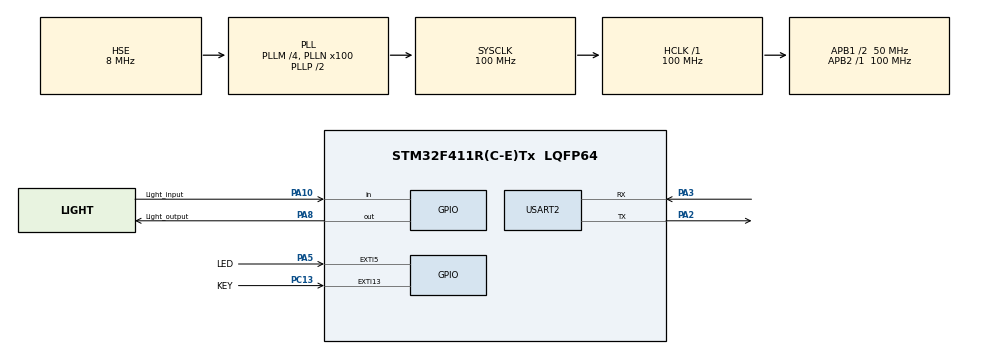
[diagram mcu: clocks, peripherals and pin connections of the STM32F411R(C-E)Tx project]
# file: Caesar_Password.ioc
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Dma.Request0=USART2_RX
Dma.Request1=USART2_TX
Dma.USART2_RX.0.Direction=DMA_PERIPH_TO_MEMORY
Dma.USART2_RX.0.FIFOMode=DMA_FIFOMODE_DISABLE
Dma.USART2_RX.0.Instance=DMA1_Stream5
Dma.USART2_RX.0.MemDataAlignment=DMA_MDATAALIGN_BYTE
Dma.USART2_RX.0.MemInc=DMA_MINC_ENABLE
Dma.USART2_RX.0.Mode=DMA_NORMAL
Dma.USART2_RX.0.PeriphDataAlignment=DMA_PDATAALIGN_BYTE
Dma.USART2_RX.0.PeriphInc=DMA_PINC_DISABLE
Dma.USART2_RX.0.Priority=DMA_PRIORITY_LOW
Dma.USART2_TX.1.Direction=DMA_MEMORY_TO_PERIPH
Dma.USART2_TX.1.FIFOMode=DMA_FIFOMODE_DISABLE
Dma.USART2_TX.1.Instance=DMA1_Stream6
Dma.USART2_TX.1.MemDataAlignment=DMA_MDATAALIGN_BYTE
Dma.USART2_TX.1.MemInc=DMA_MINC_ENABLE
Dma.USART2_TX.1.Mode=DMA_NORMAL
Dma.USART2_TX.1.PeriphDataAlignment=DMA_PDATAALIGN_BYTE
Dma.USART2_TX.1.PeriphInc=DMA_PINC_DISABLE
Dma.USART2_TX.1.Priority=DMA_PRIORITY_LOW
Mcu.Family=STM32F4
Mcu.Name=STM32F411R(C-E)Tx
Mcu.Package=LQFP64
NVIC.DMA1_Stream5_IRQn=true\:0\:0\:false\:false\:true\:false\:true\:true
NVIC.DMA1_Stream6_IRQn=true\:0\:0\:false\:false\:true\:false\:true\:true
NVIC.PriorityGroup=NVIC_PRIORITYGROUP_4
NVIC.TIM1_UP_TIM10_IRQn=true\:0\:0\:false\:false\:true\:true\:true\:true
PA10.GPIO_Label=Light_input
PA10.Signal=GPIO_Input
PA13.Mode=Serial_Wire
PA13.Signal=SYS_JTMS-SWDIO
PA14.Mode=Serial_Wire
PA14.Signal=SYS_JTCK-SWCLK
PA2.Mode=Asynchronous
PA2.Signal=USART2_TX
PA3.Mode=Asynchronous
PA3.Signal=USART2_RX
PA5.GPIO_Label=LED
PA5.Signal=GPXTI5
PA8.GPIO_Label=Light_output
PA8.Signal=GPIO_Output
PC13-ANTI_TAMP.GPIO_Label=KEY
PC13-ANTI_TAMP.Signal=GPXTI13
PH0\ -\ OSC_IN.Mode=HSE-External-Clock-Source
PH0\ -\ OSC_IN.Signal=RCC_OSC_IN
PH1\ -\ OSC_OUT.Mode=HSE-External-Clock-Source
PH1\ -\ OSC_OUT.Signal=RCC_OSC_OUT
ProjectManager.HeapSize=0x200
ProjectManager.StackSize=0x400
ProjectManager.TargetToolchain=MDK-ARM V5.32
RCC.48MHZClocksFreq_Value=50000000
RCC.AHBFreq_Value=100000000
RCC.APB1CLKDivider=RCC_HCLK_DIV2
RCC.APB1Freq_Value=50000000
RCC.APB1TimFreq_Value=100000000
RCC.APB2Freq_Value=100000000
RCC.APB2TimFreq_Value=100000000
RCC.CortexFreq_Value=100000000
RCC.HCLKFreq_Value=100000000
RCC.HSE_VALUE=8000000
RCC.HSI_VALUE=16000000
RCC.LSE_VALUE=32768
RCC.PLLM=4
RCC.PLLN=100
RCC.PLLSourceVirtual=RCC_PLLSOURCE_HSE
RCC.SYSCLKFreq_VALUE=100000000
RCC.SYSCLKSource=RCC_SYSCLKSOURCE_PLLCLK
RCC.VCOOutputFreq_Value=200000000
TIM10.Period=99
TIM10.Prescaler=9999
USART2.VirtualMode=VM_ASYNC
VP_TIM10_VS_ClockSourceINT.Mode=Enable_Timer
board=custom

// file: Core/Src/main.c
/* USER CODE BEGIN Header */
/**
 ******************************************************************************
 * @file           : main.c
 * @brief          : Main program body
 ******************************************************************************
 * @attention
 *
 * Copyright (c) 2024 STMicroelectronics.
 * All rights reserved.
 *
 * This software is licensed under terms that can be found in the LICENSE file
 * in the root directory of this software component.
 * If no LICENSE file comes with this software, it is provided AS-IS.
 *
 ******************************************************************************
 */
/* USER CODE END Header */
#include "main.h"
#include "dma.h"
#include "tim.h"
#include "usart.h"
#include "gpio.h"

/* USER CODE BEGIN Includes */
#include "KEY.h"
/* USER CODE END Includes */

/* USER CODE BEGIN PTD */
typedef enum
{
	OUTPUT = 0,
	EZINPUT = 1,
	INPUT = 2
} PUT_STATE; // 三种模式(通过长按切换)

typedef enum
{
	mode1 = 0,
	mode2,
	mode3
} LED_STATE;
/* USER CODE END PTD */

/* USER CODE BEGIN PD */
#define Bright GPIO_PIN_RESET
#define Dark GPIO_PIN_SET
/* USER CODE END PD */

/* USER CODE BEGIN PV */
PUT_STATE PutState = OUTPUT; // 默认为输出信号模式
LED_STATE LedState = mode1;
uint8_t Key_flag = 0;	   // 按键标志定义
uint32_t Bright_time = 0;  // 代表亮起的单位时间
uint32_t Dark_time = 0;	   // 代表熄灭的单位时间
uint8_t Start_ezinput = 0; // 定义开始接受标志
uint8_t Start_input = 0;   // 定义开始接受标志
uint8_t Morse_len = 0;	   // 定义摩尔斯密码长度
uint8_t Str_len = 0;	   // 定义字符串长度
uint8_t Space_num = 0;	   // 定义字符串中的空格数
uint8_t T = 0;			   // 定义t
uint8_t Morse[50] = {0};   // 定义数组储存摩尔斯密码
uint8_t Str[200] = {0};	   // 定义数组储存字符串
/* USER CODE END PV */

void SystemClock_Config(void);

/* USER CODE BEGIN 0 */
void Delay_break(uint16_t ms)
{
	for (uint8_t temp = 0; temp < ms / 10; temp++)
	{
		if (Key_flag)
			break;
		HAL_Delay(10);
	}
}

void Clear_array(uint8_t morse[], uint8_t morse_len)
{
	for (int temp = 0; temp < morse_len; temp++)
		morse[temp] = 0;
}

void Transform_password(uint8_t str[], uint8_t str_len, uint8_t t)
{
	for (int i = 0; i < str_len; i++)
	{
		if (str[i] >= 'a' && str[i] <= 'z')
		{
			str[i] = (str[i] - 'a' - t + 26) % 26 + 'a';
		}
	};
}

int Judge(uint8_t data[], const char a[], int len)
{
	for (int i = 0; i < len; i++)
	{
		if (data[i] == a[i])
			continue;
		else
			return 0;
	}
	return 1;
}

void Transform(uint8_t morse[], uint8_t str[], uint8_t morse_len, uint8_t str_len)
{
	switch (morse_len)
	{
	case 1:
	{
		if (Judge(morse, ".", 1))
			str[str_len] = 'e';
		if (Judge(morse, "-", 1))
			str[str_len] = 't';
		break;
	}
	case 2:
	{
		if (Judge(morse, ".-", 2))
			str[str_len] = 'a';
		if (Judge(morse, "..", 2))
			str[str_len] = 'i';
		if (Judge(morse, "--", 2))
			str[str_len] = 'm';
		if (Judge(morse, "-.", 2))
			str[str_len] = 'n';
		break;
	}
	case 3:
	{
		if (Judge(morse, "-..", 3))
			str[str_len] = 'd';
		if (Judge(morse, "--.", 3))
			str[str_len] = 'g';
		if (Judge(morse, "-.-", 3))
			str[str_len] = 'k';
		if (Judge(morse, "---", 3))
			str[str_len] = 'o';
		if (Judge(morse, ".-.", 3))
			str[str_len] = 'r';
		if (Judge(morse, "...", 3))
			str[str_len] = 's';
		if (Judge(morse, "..-", 3))
			str[str_len] = 'u';
		if (Judge(morse, ".--", 3))
			str[str_len] = 'w';
		break;
	}
	case 4:
	{
		if (Judge(morse, "-...", 4))
			str[str_len] = 'b';
		if (Judge(morse, "-.-.", 4))
			str[str_len] = 'c';
		if (Judge(morse, "..-.", 4))
			str[str_len] = 'f';
		if (Judge(morse, "....", 4))
			str[str_len] = 'h';
		if (Judge(morse, ".---", 4))
			str[str_len] = 'j';
		if (Judge(morse, ".-..", 4))
			str[str_len] = 'l';
		if (Judge(morse, ".--.", 4))
			str[str_len] = 'p';
		if (Judge(morse, "--.-", 4))
			str[str_len] = 'q';
		if (Judge(morse, "...-", 4))
			str[str_len] = 'v';
		if (Judge(morse, "-..-", 4))
			str[str_len] = 'x';
		if (Judge(morse, "-.--", 4))
			str[str_len] = 'y';
		if (Judge(morse, "--..", 4))
			str[str_len] = 'z';
		break;
	}
	}
}
/* USER CODE END 0 */

int main(void)
{

	/* MCU Configuration--------------------------------------------------------*/

	/* Reset of all peripherals, Initializes the Flash interface and the Systick. */
	HAL_Init();

	/* Configure the system clock */
	SystemClock_Config();

	/* Initialize all configured peripherals */
	MX_GPIO_Init();
	MX_DMA_Init();
	MX_USART2_UART_Init();
	MX_TIM10_Init();
	/* USER CODE BEGIN 2 */
	__HAL_TIM_CLEAR_IT(&htim10, TIM_IT_UPDATE);
	HAL_TIM_Base_Start_IT(&htim10);
	Key_Init(KEY0, KEY_GPIO_Port, KEY_Pin, PULL_UP);
	/* USER CODE END 2 */

	/* Infinite loop */
	while (1)
	{

		/* USER CODE BEGIN 3 */
		if (PutState == OUTPUT) // 当模式为发送信号模式时
		{
			if (Key_flag == 1)
			{
				if (LedState < mode3)
					LedState++;
				else
					LedState = 0;
			}
			else if (Key_flag == 3)
				PutState = EZINPUT; // 长按切换为接受信号模式

			switch (LedState)
			{
			case mode1:
			{
				HAL_GPIO_WritePin(LED_GPIO_Port, LED_Pin, GPIO_PIN_SET);
				HAL_GPIO_WritePin(Light_output_GPIO_Port, Light_output_Pin, GPIO_PIN_SET);
				Delay_break(1000);
				HAL_GPIO_WritePin(LED_GPIO_Port, LED_Pin, GPIO_PIN_RESET);
				HAL_GPIO_WritePin(Light_output_GPIO_Port, Light_output_Pin, GPIO_PIN_RESET);
				Delay_break(1000);
			}
			case mode2:
			{
				HAL_GPIO_WritePin(LED_GPIO_Port, LED_Pin, GPIO_PIN_SET);
				HAL_GPIO_WritePin(Light_output_GPIO_Port, Light_output_Pin, GPIO_PIN_SET);
				Delay_break(2000);
				HAL_GPIO_WritePin(LED_GPIO_Port, LED_Pin, GPIO_PIN_RESET);
				HAL_GPIO_WritePin(Light_output_GPIO_Port, Light_output_Pin, GPIO_PIN_RESET);
				Delay_break(2000);
				break;
			}
			case mode3:
			{
				HAL_GPIO_WritePin(LED_GPIO_Port, LED_Pin, GPIO_PIN_SET);
				HAL_GPIO_WritePin(Light_output_GPIO_Port, Light_output_Pin, GPIO_PIN_SET);
				Delay_break(3000);
				HAL_GPIO_WritePin(LED_GPIO_Port, LED_Pin, GPIO_PIN_RESET);
				HAL_GPIO_WritePin(Light_output_GPIO_Port, Light_output_Pin, GPIO_PIN_RESET);
				Delay_break(3000);
				break;
			}
			}
		}
	}
	/* USER CODE END 3 */
}

void SystemClock_Config(void)
{
	RCC_OscInitTypeDef RCC_OscInitStruct = {0};
	RCC_ClkInitTypeDef RCC_ClkInitStruct = {0};

	/** Configure the main internal regulator output voltage
	 */
	__HAL_RCC_PWR_CLK_ENABLE();
	__HAL_PWR_VOLTAGESCALING_CONFIG(PWR_REGULATOR_VOLTAGE_SCALE1);

	/** Initializes the RCC Oscillators according to the specified parameters
	 * in the RCC_OscInitTypeDef structure.
	 */
	RCC_OscInitStruct.OscillatorType = RCC_OSCILLATORTYPE_HSE;
	RCC_OscInitStruct.HSEState = RCC_HSE_BYPASS;
	RCC_OscInitStruct.PLL.PLLState = RCC_PLL_ON;
	RCC_OscInitStruct.PLL.PLLSource = RCC_PLLSOURCE_HSE;
	RCC_OscInitStruct.PLL.PLLM = 4;
	RCC_OscInitStruct.PLL.PLLN = 100;
	RCC_OscInitStruct.PLL.PLLP = RCC_PLLP_DIV2;
	RCC_OscInitStruct.PLL.PLLQ = 4;
	if (HAL_RCC_OscConfig(&RCC_OscInitStruct) != HAL_OK)
	{
		Error_Handler();
	}

	/** Initializes the CPU, AHB and APB buses clocks
	 */
	RCC_ClkInitStruct.ClockType = RCC_CLOCKTYPE_HCLK | RCC_CLOCKTYPE_SYSCLK | RCC_CLOCKTYPE_PCLK1 | RCC_CLOCKTYPE_PCLK2;
	RCC_ClkInitStruct.SYSCLKSource = RCC_SYSCLKSOURCE_PLLCLK;
	RCC_ClkInitStruct.AHBCLKDivider = RCC_SYSCLK_DIV1;
	RCC_ClkInitStruct.APB1CLKDivider = RCC_HCLK_DIV2;
	RCC_ClkInitStruct.APB2CLKDivider = RCC_HCLK_DIV1;

	if (HAL_RCC_ClockConfig(&RCC_ClkInitStruct, FLASH_LATENCY_3) != HAL_OK)
	{
		Error_Handler();
	}
}

/* USER CODE BEGIN 4 */
void HAL_TIM_PeriodElapsedCallback(TIM_HandleTypeDef *htim)
{
	if (htim->Instance == TIM10) // 0.01s
	{
		switch (PutState)
		{
		case OUTPUT:
		{
			Key_pressscan(KEY0, &Key_flag);
			break;
		}
		case EZINPUT:
		{
			Key_pressscan(KEY0, &Key_flag);
			if (HAL_GPIO_ReadPin(Light_input_GPIO_Port, Light_input_Pin) == Bright)
			{
				Bright_time++;
				Start_ezinput = 1;
			}
			if (HAL_GPIO_ReadPin(Light_input_GPIO_Port, Light_input_Pin) == Dark && Start_ezinput)
				Dark_time++;
			if (Bright_time == Dark_time)
			{
				switch (Bright_time)
				{
				case 100:
				{
					printf("Fight!\r\n");
					Bright_time = 0;
					Dark_time = 0;
					Start_ezinput = 0;
					break;
				}
				case 200:
				{
					printf("Retreat!\r\n");
					Bright_time = 0;
					Dark_time = 0;
					Start_ezinput = 0;
					break;
				}
				case 300:
				{
					printf("Come to me!\r\n");
					Bright_time = 0;
					Dark_time = 0;
					Start_ezinput = 0;
					break;
				}
				}
			}
			break;
		}

		case INPUT:
		{
			if (HAL_GPIO_ReadPin(Light_input_GPIO_Port, Light_input_Pin) == Bright)
			{
				if (Start_input == 0)
					Start_input = 1;
				Bright_time++;
				Dark_time = 0;
			}
			else if (HAL_GPIO_ReadPin(Light_input_GPIO_Port, Light_input_Pin) == Dark && Start_input)
			{
				Dark_time++;
				switch (Dark_time)
				{
				case 1:
				{
					if (Bright_time == 1)
					{
						Morse[Morse_len++] = '.';
						Bright_time = 0;
					}
					else if (Bright_time == 3)
					{
						Morse[Morse_len++] = '-';
						Bright_time = 0;
					}
					break;
				}
				case 3:
				{
					Transform(Morse, Str, Morse_len, Str_len++);
					Clear_array(Morse, Morse_len);
					Morse_len = 0;
				}
				case 7:
				{
					Str[Str_len++] = ' ';
					Space_num++;
				}
				}
				if (Dark_time > 7)
				{
					Str[Morse_len - 1] = 0;
					T = (Str_len - Space_num) % 7;
					Transform_password(Str, Str_len, T);
					for (int i = 0; i < Str_len - 2; i++)
					{
						printf("%c", Str[i]);
					}
					printf(".\r\n");
					Start_input = 0;
				}
			}
		}
		}
	}
}

int fputc(int ch, FILE *f)
{
	HAL_UART_Transmit(&huart2, (uint8_t *)&ch, 1, HAL_MAX_DELAY);
	return ch;
}
/* USER CODE END 4 */

void Error_Handler(void)
{
	__disable_irq();
	while (1)
	{
	}
}
